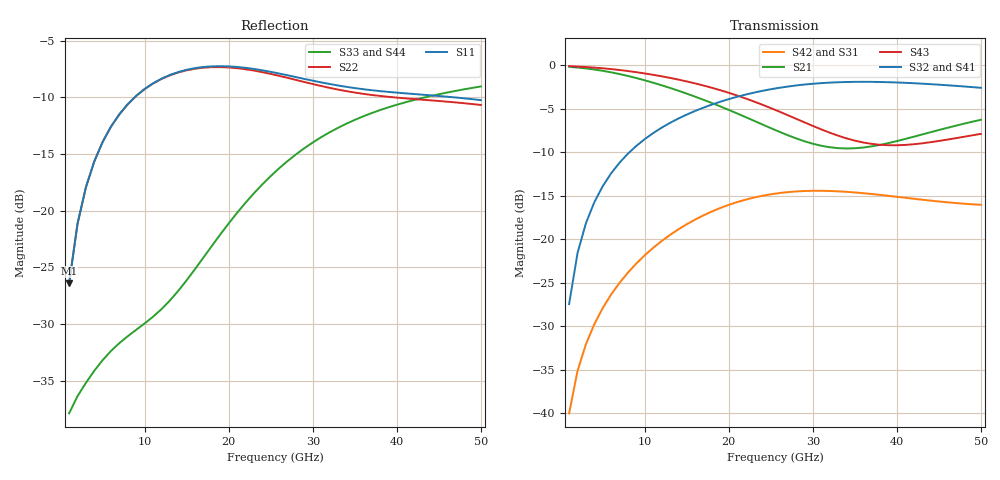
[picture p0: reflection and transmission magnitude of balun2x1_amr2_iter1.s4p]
! Created with skrf 2.2.0 (http://scikit-rf.org).
# GHz S DB R 50.0
! Port[1] = P1
! Port[2] = P2
! Port[3] = P3
! Port[4] = P4
!freq dBS11 angS11 dBS12 angS12 dBS13 angS13
! dBS14 angS14
! dBS21 angS21 dBS22 angS22 dBS23 angS23
! dBS24 angS24
! dBS31 angS31 dBS32 angS32 dBS33 angS33
! dBS34 angS34
! dBS41 angS41 dBS42 angS42 dBS43 angS43
! dBS44 angS44
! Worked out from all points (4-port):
!   50 points, 1 GHz to 50 GHz, reference 50 ohm
!   strongest paths, dB at 1 GHz, 13 GHz, 26 GHz, 38 GHz, 50 GHz:
!     S32: -27.5, -6.6, -2.6, -1.9, -2.6
!     S41: -27.5, -6.7, -2.6, -2.0, -2.7
!     S43: -0.1, -1.5, -5.3, -9.2, -7.9
!     S21: -0.2, -2.6, -7.7, -9.2, -6.3
!     S42: -40.0, -19.5, -14.7, -14.9, -16.1
!     S31: -40.0, -19.7, -15.0, -15.2, -16.2
!   lowest |S11| = -26.4 dB at 1 GHz (marker M1), VSWR 1.10, Z = 52 + j4.46 ohm
!   |S11| at or under -10 dB: start of sweep to 8.813 GHz; 46.62 GHz to end of sweep
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1  -26.41 63.5  -0.19 -5.4  -40.04 -112.8  -27.46 84.2
   -0.19 -5.4  -26.40 63.4  -27.47 84.2  -40.03 -112.9
   -40.04 -112.8  -27.47 84.2  -37.89 15.8  -0.12 -2.7
   -27.46 84.2  -40.03 -112.9  -0.12 -2.7  -37.88 15.8
4  -15.65 61.7  -0.50 -20.1  -29.81 -139.0  -15.76 73.5
   -0.50 -20.1  -15.65 61.5  -15.76 73.5  -29.78 -139.6
   -29.81 -139.0  -15.76 73.5  -34.13 12.0  -0.28 -10.1
   -15.76 73.5  -29.78 -139.6  -0.28 -10.1  -34.07 11.6
9  -9.86 40.1  -1.49 -43.8  -22.89 177.3  -9.29 55.5
   -1.49 -43.8  -9.88 39.5  -9.29 55.5  -22.81 176.1
   -22.89 177.3  -9.29 55.5  -30.51 -26.6  -0.81 -21.7
   -9.29 55.5  -22.81 176.1  -0.81 -21.7  -30.35 -27.6
17  -7.33 8.4  -3.99 -81.3  -17.46 117.4  -4.90 29.9
    -3.99 -81.3  -7.40 7.2  -4.88 29.9  -17.26 115.8
    -17.46 117.4  -4.88 29.9  -24.13 -117.7  -2.35 -38.3
    -4.90 29.9  -17.26 115.8  -2.35 -38.3  -23.80 -117.9
27  -8.07 -18.2  -8.05 -139.9  -14.88 59.3  -2.49 -0.2
    -8.05 -139.9  -8.29 -20.0  -2.46 -0.4  -14.60 57.0
    -14.88 59.3  -2.46 -0.4  -15.63 170.1  -5.75 -51.2
    -2.49 -0.2  -14.60 57.0  -5.75 -51.2  -15.38 170.1
39  -9.53 -32.0  -8.96 130.3  -15.32 13.2  -2.00 -32.8
    -8.96 130.3  -9.97 -33.0  -1.96 -33.2  -15.03 9.7
    -15.32 13.2  -1.96 -33.2  -10.89 119.3  -9.21 -36.7
    -2.00 -32.8  -15.03 9.7  -9.21 -36.7  -10.69 118.9
50  -10.26 -45.4  -6.28 79.7  -16.21 -8.1  -2.65 -56.4
    -6.28 79.7  -10.69 -45.7  -2.61 -56.9  -16.06 -12.8
    -16.21 -8.1  -2.61 -56.9  -9.05 90.7  -7.90 -25.9
    -2.65 -56.4  -16.06 -12.8  -7.90 -25.9  -8.87 90.0
